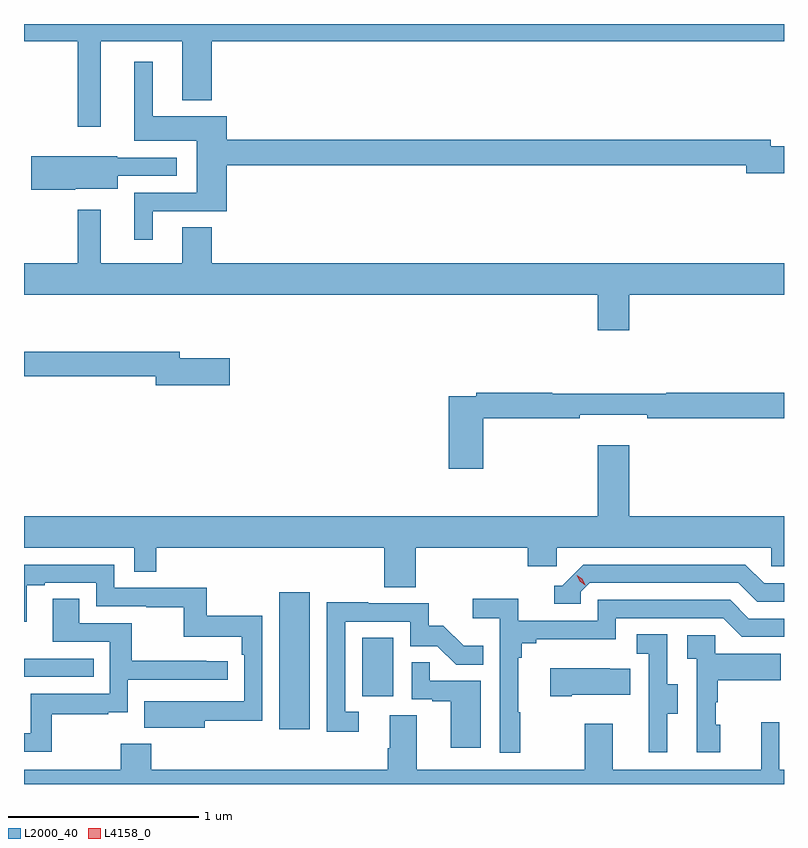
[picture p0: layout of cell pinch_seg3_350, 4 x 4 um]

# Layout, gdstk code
import gdstk
lib = gdstk.Library(unit=1e-6, precision=1e-09)
def R(c, l, rs):  # rectangles x0, y0, x1, y1
    for r in rs: c.add(gdstk.rectangle(r[:2], r[2:], *l))
def P(c, l, *ps):  # polygons
    for p in ps: c.add(gdstk.Polygon(p, *l))
L2000_40 = (2000, 40)
L4158_0 = (4158, 0)

pinch_seg3_350 = lib.new_cell('pinch_seg3_350')
R(pinch_seg3_350, L2000_40, [(978.515,702.624,978.676,703.345), (978.95,702.798,979.114,703.105), (977.171,702.9,977.537,702.996)])
P(pinch_seg3_350, L2000_40, [(977.575,706.244),(978.005,706.244),(978.005,705.935),(978.158,705.935),(978.158,706.244),(981.171,706.244),(981.171,706.336),(977.171,706.336),(977.171,706.244),(977.454,706.244),(977.454,705.795),(977.575,705.795)],
  [(977.848,705.351),(978.239,705.351),(978.239,705.592),(980.972,705.592),(980.972,705.55),(981.171,705.55),(981.171,705.692),(981.1,705.692),(981.1,705.728),(978.239,705.728),(978.239,705.85),(977.848,705.85),(977.848,706.138),(977.75,706.138),(977.75,705.722),(978.08,705.722),(978.08,705.447),(977.75,705.447),(977.75,705.201),(977.848,705.201)],
  [(977.442,705.47),(977.665,705.47),(977.665,705.537),(977.974,705.537),(977.974,705.633),(977.661,705.633),(977.661,705.641),(977.208,705.641),(977.208,705.463),(977.442,705.463)],
  [(980.356,704.912),(981.171,704.912),(981.171,705.076),(978.158,705.076),(978.158,705.266),(978.005,705.266),(978.005,705.076),(977.575,705.076),(977.575,705.358),(977.454,705.358),(977.454,705.076),(977.171,705.076),(977.171,704.912),(980.192,704.912),(980.192,704.724),(980.356,704.724)],
  [(978.253,704.577),(977.992,704.577),(977.992,704.611),(977.171,704.611),(977.171,704.482),(977.864,704.482),(977.864,704.435),(978.253,704.435)],
  [(979.589,704.26),(980.096,704.26),(980.096,704.279),(980.452,704.279),(980.452,704.26),(981.171,704.26),(981.171,704.396),(980.552,704.396),(980.552,704.389),(979.952,704.389),(979.952,704.396),(979.552,704.396),(979.552,704.376),(979.406,704.376),(979.406,703.995),(979.589,703.995)],
  [(979.232,703.58),(979.823,703.58),(979.823,703.482),(979.974,703.482),(979.974,703.58),(981.105,703.58),(981.105,703.482),(981.171,703.482),(981.171,703.744),(980.356,703.744),(980.356,704.119),(980.192,704.119),(980.192,703.744),(977.171,703.744),(977.171,703.58),(977.751,703.58),(977.751,703.453),(977.867,703.453),(977.867,703.58),(979.067,703.58),(979.067,703.372),(979.232,703.372)],
  [(978.121,702.67),(978.426,702.67),(978.426,703.222),(978.133,703.222),(978.133,703.368),(977.646,703.368),(977.646,703.491),(977.171,703.491),(977.171,703.19),(977.185,703.19),(977.185,703.383),(977.281,703.383),(977.281,703.395),(977.55,703.395),(977.55,703.272),(977.815,703.272),(977.815,703.267),(978.012,703.267),(978.012,703.112),(978.317,703.112),(978.317,703.016),(978.33,703.016),(978.33,702.771),(978.017,702.771),(978.017,702.772),(977.803,702.772),(977.803,702.632),(978.121,702.632)],
  [(980.1,703.347),(980.148,703.395),(980.931,703.395),(981.03,703.296),(981.171,703.296),(981.171,703.392),(981.067,703.392),(980.968,703.491),(980.115,703.491),(980.004,703.38),(979.961,703.38),(979.961,703.284),(980.1,703.284)],
  [(979.783,702.713),(979.771,702.713),(979.771,703.001),(979.79,703.001),(979.79,703.078),(979.867,703.078),(979.867,703.097),(980.286,703.097),(980.286,703.209),(980.85,703.209),(980.949,703.11),(981.171,703.11),(981.171,703.206),(980.986,703.206),(980.887,703.305),(980.19,703.305),(980.19,703.194),(979.772,703.194),(979.772,703.31),(979.533,703.31),(979.533,703.208),(979.674,703.208),(979.674,702.501),(979.783,702.501)],
  [(977.317,702.702),(977.615,702.702),(977.615,702.713),(977.718,702.713),(977.718,702.885),(978.244,702.885),(978.244,702.981),(978.131,702.981),(978.131,702.986),(977.738,702.986),(977.738,703.182),(977.461,703.182),(977.461,703.31),(977.321,703.31),(977.321,703.086),(977.622,703.086),(977.622,702.81),(977.206,702.81),(977.206,702.604),(977.171,702.604),(977.171,702.507),(977.317,702.507)],
  [(978.934,702.717),(978.861,702.717),(978.861,703.191),(979.203,703.191),(979.203,703.062),(979.347,703.062),(979.445,702.964),(979.589,702.964),(979.589,703.063),(979.485,703.063),(979.378,703.17),(979.302,703.17),(979.302,703.287),(978.983,703.287),(978.983,703.292),(978.765,703.292),(978.765,702.612),(978.934,702.612)],
  [(980.557,702.706),(980.611,702.706),(980.611,702.861),(980.556,702.861),(980.556,703.124),(980.397,703.124),(980.397,703.021),(980.46,703.021),(980.46,702.717),(980.459,702.717),(980.459,702.504),(980.557,702.504)],
  [(980.836,702.648),(980.811,702.648),(980.811,702.767),(980.821,702.767),(980.821,702.881),(981.155,702.881),(981.155,703.021),(980.808,703.021),(980.808,703.119),(980.661,703.119),(980.661,702.995),(980.712,702.995),(980.712,702.504),(980.836,702.504)],
  [(979.576,702.879),(979.307,702.879),(979.307,702.977),(979.212,702.977),(979.212,702.783),(979.319,702.783),(979.319,702.771),(979.418,702.771),(979.418,702.528),(979.576,702.528)],
  [(980.053,702.806),(980.363,702.806),(980.363,702.943),(980.255,702.943),(980.255,702.946),(979.941,702.946),(979.941,702.799),(980.053,702.799)],
  [(977.68,702.547),(977.68,702.412),(977.171,702.412),(977.171,702.336),(981.171,702.336),(981.171,702.412),(981.147,702.412),(981.147,702.661),(981.05,702.661),(981.05,702.412),(980.269,702.412),(980.269,702.652),(980.122,702.652),(980.122,702.412),(979.237,702.412),(979.237,702.698),(979.097,702.698),(979.097,702.524),(979.085,702.524),(979.085,702.412),(977.84,702.412),(977.84,702.547)])
P(pinch_seg3_350, L4158_0, [(980.126,703.383),(980.095,703.402),(980.079,703.435),(980.079,703.435),(980.08,703.435),(980.11,703.416),(980.126,703.383),(980.126,703.383)])

lib.write_gds('pinch_seg3_350.gds')
